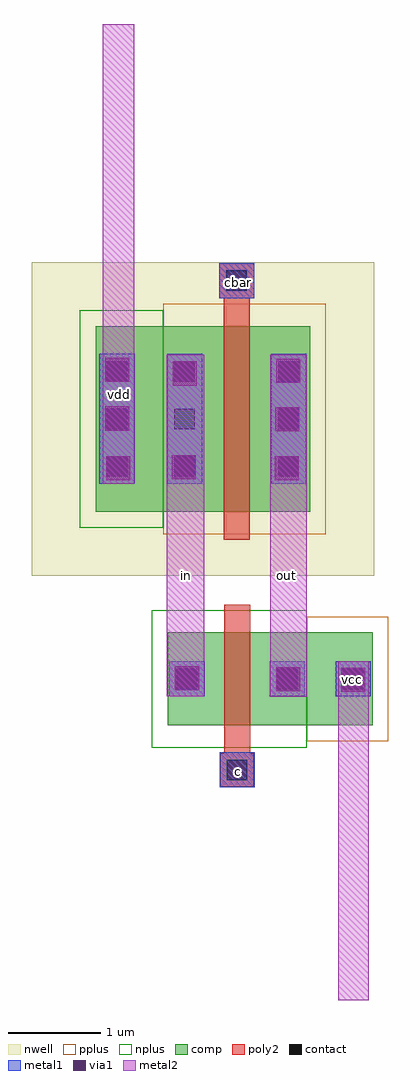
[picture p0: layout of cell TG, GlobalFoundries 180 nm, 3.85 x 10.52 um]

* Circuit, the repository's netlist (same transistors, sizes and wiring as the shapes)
** sch_path: /foss/designs/CAD2/TG.sch
.subckt TG in vss vdd c cbar out
*.PININFO in:I out:O vss:B vdd:B c:B cbar:B
M1 out cbar in vdd pfet_03v3 L=0.28u W=2u nf=1 m=1
M2 in c out vss nfet_03v3 L=0.28u W=1u nf=1 m=1
.ends

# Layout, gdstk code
from math import pi, radians
import gdstk
lib = gdstk.Library(unit=1e-6, precision=5e-09)
def R(c, l, rs):  # rectangles x0, y0, x1, y1
    for r in rs: c.add(gdstk.rectangle(r[:2], r[2:], *l))
def A(c, l, x, y, w, h, nx, ny, dx, dy):  # array of equal rectangles
    R(c, l, [(x+i*dx, y+j*dy, x+i*dx+w, y+j*dy+h) for i in range(nx) for j in range(ny)])
nwell = (21, 0)
comp = (22, 0)
poly2 = (30, 0)
pplus = (31, 0)
nplus = (32, 0)
contact = (33, 0)
metal1 = (34, 0)
via1 = (35, 0)
metal2 = (36, 0)

nfet_1 = lib.new_cell('nfet$1')
R(nfet_1, comp, [(-0.42,0,0,1), (0,0,0.66,1), (0.66,0,1.08,1), (1.08,0,1.79,1)])
R(nfet_1, poly2, [(0.15,-0.66,0.51,-0.3), (0.19,-0.3,0.47,1.3)])
R(nfet_1, pplus, [(1.08,-0.17,1.96,1.17)])
R(nfet_1, nplus, [(-0.59,-0.24,1.08,1.24)])
R(nfet_1, contact, [(0.22,-0.59,0.44,-0.37), (-0.32,0.39,-0.1,0.61), (0.76,0.39,0.98,0.61), (1.47,0.39,1.69,0.61)])
R(nfet_1, metal1, [(0.14,-0.67,0.52,-0.29), (-0.4,0.31,-0.02,0.69), (0.68,0.31,1.06,0.69), (1.39,0.31,1.77,0.69)])

pfet_1 = lib.new_cell('pfet$1')
R(pfet_1, nwell, [(-1.15,-0.69,2.54,2.69)])
R(pfet_1, comp, [(-0.46,0,0,2), (0,0,0.66,2), (0.66,0,1.12,2), (1.12,0,1.85,2)])
R(pfet_1, poly2, [(0.14,-0.68,0.52,-0.3), (0.19,-0.3,0.47,2.3)])
R(pfet_1, pplus, [(-0.63,-0.24,1.12,2.24)])
R(pfet_1, nplus, [(1.12,-0.17,2.02,2.17)])
A(pfet_1, contact, -0.34, 0.38, 0.22, 0.22, 1, 3, 0, 0.51)
A(pfet_1, contact, 0.78, 0.38, 0.22, 0.22, 1, 3, 0, 0.51)
A(pfet_1, contact, 1.51, 0.38, 0.22, 0.22, 1, 3, 0, 0.51)
R(pfet_1, contact, [(0.22,-0.6,0.44,-0.38)])
R(pfet_1, metal1, [(0.14,-0.68,0.52,-0.3), (-0.42,0.3,-0.04,1.7), (0.7,0.3,1.08,1.7), (1.43,0.3,1.81,1.7)])

c_tg = lib.new_cell('TG')
R(c_tg, via1, [(1.48,0.805,1.74,1.065), (0.78,0.81,1.04,1.07), (-0.31,0.82,-0.05,1.08), (-1.05,3.085,-0.79,3.345), (0.765,3.085,1.025,3.345), (-0.345,3.095,-0.085,3.355), (-0.345,3.095,-0.085,3.355), (0.77,3.61,1.03,3.87), (-1.06,3.62,-0.8,3.88), (-0.335,4.105,-0.075,4.365), (0.78,4.135,1.04,4.395), (-1.06,4.145,-0.8,4.405)])
R(c_tg, metal2, [(1.45,-2.515,1.78,1.135), (0.715,0.75,1.11,4.435), (-0.4,0.755,0.005,4.435), (-1.09,3.045,-0.75,8)])
c_tg.add(gdstk.Reference(nfet_1, (0.03,0.445)))
c_tg.add(gdstk.Reference(pfet_1, (0.685,4.745), rotation=pi))
c_tg.add(gdstk.Label('vdd', (-0.905,4.005), layer=34, texttype=10))
c_tg.add(gdstk.Label('vcc', (1.6,0.94), layer=34, texttype=10))
c_tg.add(gdstk.Label('c', (0.37,-0.05), layer=34, texttype=10))
c_tg.add(gdstk.Label('cbar', (0.37,5.21), layer=34, texttype=10))
c_tg.add(gdstk.Label('in', (-0.19,2.055), layer=36, texttype=10))
c_tg.add(gdstk.Label('out', (0.895,2.055), layer=36, texttype=10))

lib.write_gds('TG.gds')
